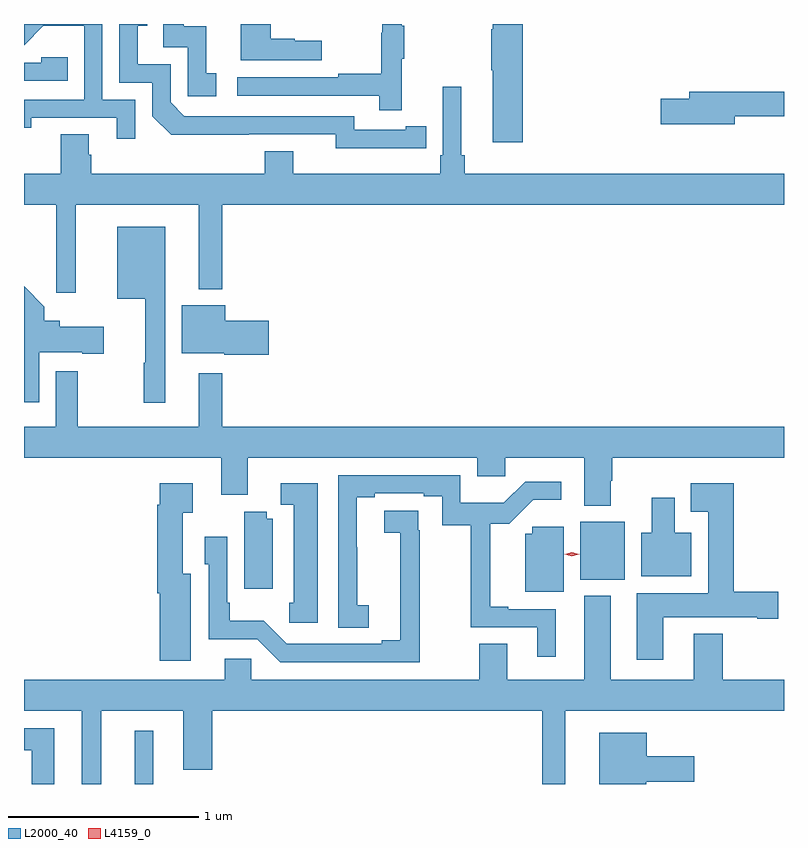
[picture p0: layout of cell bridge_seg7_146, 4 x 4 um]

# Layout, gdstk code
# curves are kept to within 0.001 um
import gdstk
lib = gdstk.Library(unit=1e-6, precision=1e-09)
def R(c, l, rs):  # rectangles x0, y0, x1, y1
    for r in rs: c.add(gdstk.rectangle(r[:2], r[2:], *l))
def P(c, l, *ps):  # polygons
    for p in ps: c.add(gdstk.Polygon(p, *l))
L2000_40 = (2000, 40)
L4159_0 = (4159, 0)

bridge_seg7_146 = lib.new_cell('bridge_seg7_146')
R(bridge_seg7_146, L2000_40, [(515.546,1052.179,515.644,1052.458), (517.892,1053.254,518.125,1053.559)])
P(bridge_seg7_146, L2000_40, [(516.974,1055.526),(517.082,1055.526),(517.082,1055.642),(516.974,1055.642),(516.974,1055.622),(516.702,1055.622),(516.702,1055.694),(515.808,1055.694),(515.736,1055.766),(515.736,1055.967),(515.563,1055.967),(515.563,1056.171),(515.612,1056.171),(515.612,1056.179),(515.466,1056.179),(515.466,1055.871),(515.64,1055.871),(515.64,1055.694),(515.738,1055.597),(516.606,1055.598),(516.606,1055.525)],
  [(515.977,1055.919),(515.924,1055.919),(515.924,1056.166),(515.806,1056.166),(515.806,1056.179),(515.697,1056.179),(515.697,1056.057),(515.826,1056.057),(515.826,1055.799),(515.977,1055.799)],
  [(516.953,1055.995),(516.964,1055.995),(516.964,1056.169),(516.953,1056.169),(516.953,1056.179),(516.85,1056.179),(516.85,1056.132),(516.843,1056.132),(516.843,1055.918),(516.619,1055.918),(516.619,1055.898),(516.087,1055.898),(516.087,1055.802),(516.835,1055.802),(516.835,1055.724),(516.953,1055.724)],
  [(515.55,1055.781),(515.376,1055.781),(515.376,1056.179),(514.964,1056.179),(514.964,1056.068),(515.066,1056.17),(515.28,1056.17),(515.28,1055.781),(514.964,1055.781),(514.964,1055.634),(515.002,1055.634),(515.002,1055.685),(515.453,1055.685),(515.453,1055.574),(515.55,1055.574)],
  [(517.589,1056.179),(517.43,1056.179),(517.43,1056.152),(517.423,1056.152),(517.423,1055.935),(517.43,1055.935),(517.43,1055.556),(517.589,1055.556)],
  [(516.532,1056.091),(516.389,1056.091),(516.389,1056.101),(516.262,1056.101),(516.262,1056.179),(516.104,1056.179),(516.104,1055.987),(516.532,1055.987)],
  [(515.195,1056.003),(515.055,1056.003),(515.055,1055.976),(514.964,1055.976),(514.964,1055.88),(515.195,1055.88)],
  [(515.236,1055.228),(515.885,1055.228),(515.885,1054.784),(516.007,1054.784),(516.007,1055.228),(518.964,1055.228),(518.964,1055.392),(517.283,1055.392),(517.283,1055.488),(517.264,1055.488),(517.264,1055.848),(517.167,1055.848),(517.167,1055.488),(517.154,1055.488),(517.154,1055.392),(516.382,1055.392),(516.382,1055.509),(516.23,1055.509),(516.23,1055.392),(515.318,1055.392),(515.318,1055.49),(515.305,1055.49),(515.305,1055.6),(515.158,1055.6),(515.158,1055.392),(514.964,1055.392),(514.964,1055.228),(515.135,1055.228),(515.135,1054.764),(515.236,1054.764)],
  [(518.704,1055.694),(518.964,1055.694),(518.964,1055.822),(518.465,1055.822),(518.465,1055.786),(518.316,1055.786),(518.316,1055.651),(518.704,1055.651)],
  [(515.707,1055.113),(515.456,1055.113),(515.456,1054.733),(515.603,1054.733),(515.603,1054.397),(515.593,1054.397),(515.593,1054.185),(515.707,1054.185)],
  [(515.043,1054.451),(515.27,1054.451),(515.27,1054.444),(515.383,1054.444),(515.383,1054.586),(515.152,1054.586),(515.152,1054.618),(515.071,1054.618),(515.071,1054.692),(514.964,1054.799),(514.964,1054.187),(515.043,1054.187)],
  [(516.253,1054.616),(516.022,1054.616),(516.022,1054.699),(515.795,1054.699),(515.795,1054.445),(516.018,1054.445),(516.018,1054.438),(516.253,1054.438)],
  [(518.053,1053.776),(518.061,1053.776),(518.061,1053.896),(518.964,1053.896),(518.964,1054.06),(516.007,1054.06),(516.007,1054.342),(515.885,1054.342),(515.885,1054.06),(515.246,1054.06),(515.246,1054.351),(515.132,1054.351),(515.132,1054.06),(514.964,1054.06),(514.964,1053.896),(516.002,1053.896),(516.002,1053.702),(516.142,1053.702),(516.142,1053.896),(517.349,1053.896),(517.349,1053.798),(517.496,1053.798),(517.496,1053.896),(517.913,1053.896),(517.913,1053.644),(518.053,1053.644)],
  [(517.762,1053.099),(517.513,1053.099),(517.513,1053.112),(517.418,1053.112),(517.418,1053.549),(517.517,1053.549),(517.643,1053.674),(517.792,1053.674),(517.792,1053.771),(517.602,1053.771),(517.489,1053.658),(517.26,1053.658),(517.26,1053.804),(516.618,1053.804),(516.618,1053.001),(516.778,1053.001),(516.778,1053.121),(516.717,1053.121),(516.717,1053.425),(516.715,1053.425),(516.715,1053.688),(516.811,1053.688),(516.811,1053.708),(517.067,1053.708),(517.067,1053.694),(517.164,1053.694),(517.164,1053.541),(517.315,1053.541),(517.315,1053.003),(517.664,1053.003),(517.664,1052.85),(517.762,1052.85)],
  [(515.842,1053.286),(515.8,1053.286),(515.8,1053.607),(515.851,1053.607),(515.851,1053.763),(515.678,1053.763),(515.678,1053.65),(515.666,1053.65),(515.666,1053.182),(515.678,1053.182),(515.678,1052.829),(515.842,1052.829)],
  [(518.329,1053.056),(518.822,1053.056),(518.822,1053.049),(518.935,1053.049),(518.935,1053.191),(518.699,1053.191),(518.699,1053.763),(518.474,1053.763),(518.474,1053.611),(518.564,1053.611),(518.564,1053.184),(518.189,1053.184),(518.189,1052.832),(518.329,1052.832)],
  [(516.511,1053.763),(516.315,1053.763),(516.315,1053.648),(516.383,1053.648),(516.383,1053.132),(516.361,1053.132),(516.361,1053.027),(516.511,1053.027)],
  [(518.476,1053.502),(518.389,1053.502),(518.389,1053.685),(518.267,1053.685),(518.267,1053.502),(518.213,1053.502),(518.213,1053.272),(518.476,1053.272)],
  [(517.046,1053.515),(517.04,1053.515),(517.04,1053.617),(516.861,1053.617),(516.861,1053.502),(516.943,1053.502),(516.944,1052.936),(516.848,1052.936),(516.848,1052.916),(516.348,1052.916),(516.227,1053.037),(516.046,1053.037),(516.046,1053.133),(516.033,1053.133),(516.033,1053.481),(515.916,1053.481),(515.916,1053.336),(515.937,1053.336),(515.937,1052.94),(516.192,1052.94),(516.312,1052.82),(517.046,1052.82)],
  [(516.274,1053.574),(516.242,1053.574),(516.242,1053.611),(516.122,1053.611),(516.122,1053.207),(516.274,1053.207)],
  [(517.804,1053.532),(517.638,1053.532),(517.638,1053.496),(517.601,1053.496),(517.601,1053.191),(517.804,1053.191)],
  [(515.371,1052.564),(515.801,1052.564),(515.801,1052.255),(515.954,1052.255),(515.954,1052.564),(517.692,1052.564),(517.692,1052.179),(517.813,1052.179),(517.813,1052.564),(518.964,1052.564),(518.964,1052.728),(518.642,1052.728),(518.642,1052.971),(518.489,1052.971),(518.489,1052.728),(518.053,1052.728),(518.053,1053.169),(517.913,1053.169),(517.913,1052.728),(517.507,1052.728),(517.507,1052.918),(517.36,1052.918),(517.36,1052.728),(516.159,1052.728),(516.159,1052.838),(516.02,1052.838),(516.02,1052.728),(514.964,1052.728),(514.964,1052.564),(515.267,1052.564),(515.267,1052.227),(515.268,1052.227),(515.268,1052.179),(515.371,1052.179)],
  [(515.122,1052.472),(514.964,1052.472),(514.964,1052.356),(515.005,1052.356),(515.005,1052.179),(515.122,1052.179)],
  [(518.238,1052.192),(518.491,1052.192),(518.491,1052.326),(518.242,1052.326),(518.242,1052.449),(517.991,1052.449),(517.991,1052.179),(518.238,1052.179)])
P(bridge_seg7_146, L4159_0, [(517.847,1053.378),(517.809,1053.388),(517.809,1053.389),(517.809,1053.389),(517.848,1053.398),(517.886,1053.388),(517.886,1053.388),(517.886,1053.387)])

lib.write_gds('bridge_seg7_146.gds')
